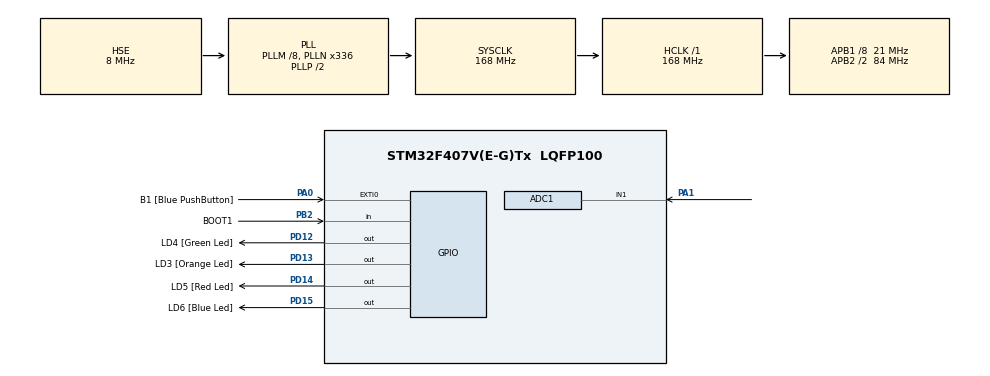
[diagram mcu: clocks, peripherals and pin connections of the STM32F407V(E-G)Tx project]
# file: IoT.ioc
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ADC1.Channel-0\#ChannelRegularConversion=ADC_CHANNEL_1
ADC1.ClockPrescaler=ADC_CLOCK_SYNC_PCLK_DIV4
ADC1.ContinuousConvMode=ENABLE
ADC1.DMAContinuousRequests=DISABLE
ADC1.DataAlign=ADC_DATAALIGN_RIGHT
ADC1.DiscontinuousConvMode=DISABLE
ADC1.EOCSelection=ADC_EOC_SINGLE_CONV
ADC1.EnableAnalogWatchDog=false
ADC1.ExternalTrigConv=ADC_SOFTWARE_START
ADC1.ExternalTrigConvEdge=ADC_EXTERNALTRIGCONVEDGE_NONE
ADC1.InjNumberOfConversion=0
ADC1.NbrOfConversion=1
ADC1.NbrOfConversionFlag=1
ADC1.Rank-0\#ChannelRegularConversion=1
ADC1.Resolution=ADC_RESOLUTION_12B
ADC1.SamplingTime-0\#ChannelRegularConversion=ADC_SAMPLETIME_3CYCLES
ADC1.ScanConvMode=ENABLE
ADC1.master=1
Dma.ADC1.0.Direction=DMA_PERIPH_TO_MEMORY
Dma.ADC1.0.FIFOMode=DMA_FIFOMODE_DISABLE
Dma.ADC1.0.Instance=DMA2_Stream0
Dma.ADC1.0.MemDataAlignment=DMA_MDATAALIGN_WORD
Dma.ADC1.0.MemInc=DMA_MINC_ENABLE
Dma.ADC1.0.Mode=DMA_CIRCULAR
Dma.ADC1.0.PeriphDataAlignment=DMA_PDATAALIGN_WORD
Dma.ADC1.0.PeriphInc=DMA_PINC_DISABLE
Dma.ADC1.0.Priority=DMA_PRIORITY_LOW
Dma.Request0=ADC1
FREERTOS.Tasks01=defaultTask,0,128,StartDefaultTask,Default,NULL
Mcu.Family=STM32F4
Mcu.Name=STM32F407V(E-G)Tx
Mcu.Package=LQFP100
NVIC.ADC_IRQn=true\:5\:0\:false\:false\:true\:true\:true
NVIC.DMA2_Stream0_IRQn=true\:5\:0\:false\:false\:true\:true\:false
NVIC.PriorityGroup=NVIC_PRIORITYGROUP_4
NVIC.TIM1_UP_TIM10_IRQn=true\:0\:0\:false\:false\:true\:false\:false
NVIC.TIM6_DAC_IRQn=true\:5\:0\:false\:false\:true\:true\:true
NVIC.TimeBase=TIM1_UP_TIM10_IRQn
NVIC.TimeBaseIP=TIM1
PA0-WKUP.GPIO_Label=B1 [Blue PushButton]
PA0-WKUP.GPIO_ModeDefaultEXTI=GPIO_MODE_EVT_RISING
PA0-WKUP.GPIO_PuPd=GPIO_NOPULL
PA0-WKUP.Signal=GPXTI0
PA1.Signal=ADCx_IN1
PB2.GPIO_Label=BOOT1
PB2.GPIO_Mode=GPIO_MODE_INPUT
PB2.GPIO_PuPd=GPIO_NOPULL
PB2.Signal=GPIO_Input
PB3.GPIO_Label=SWO
PB3.Signal=SYS_JTDO-SWO
PC14-OSC32_IN.GPIO_Label=PC14-OSC32_IN
PC14-OSC32_IN.Mode=LSE-External-Oscillator
PC14-OSC32_IN.Signal=RCC_OSC32_IN
PC15-OSC32_OUT.GPIO_Label=PC15-OSC32_OUT
PC15-OSC32_OUT.Mode=LSE-External-Oscillator
PC15-OSC32_OUT.Signal=RCC_OSC32_OUT
PC7.GPIO_Label=I2S3_MCK [CS43L22_MCLK]
PC7.GPIO_Mode=GPIO_MODE_AF_PP
PC7.GPIO_PuPd=GPIO_NOPULL
PC7.GPIO_Speed=GPIO_SPEED_FREQ_LOW
PC7.Signal=I2S3_MCK
PD12.GPIO_Label=LD4 [Green Led]
PD12.GPIO_PuPd=GPIO_PULLDOWN
PD12.GPIO_Speed=GPIO_SPEED_FREQ_LOW
PD12.Signal=GPIO_Output
PD13.GPIO_Label=LD3 [Orange Led]
PD13.GPIO_PuPd=GPIO_PULLDOWN
PD13.GPIO_Speed=GPIO_SPEED_FREQ_LOW
PD13.Signal=GPIO_Output
PD14.GPIO_Label=LD5 [Red Led]
PD14.GPIO_PuPd=GPIO_PULLDOWN
PD14.GPIO_Speed=GPIO_SPEED_FREQ_LOW
PD14.Signal=GPIO_Output
PD15.GPIO_Label=LD6 [Blue Led]
PD15.GPIO_PuPd=GPIO_PULLDOWN
PD15.GPIO_Speed=GPIO_SPEED_FREQ_LOW
PD15.Signal=GPIO_Output
PH0-OSC_IN.GPIO_Label=PH0-OSC_IN
PH0-OSC_IN.Mode=HSE-External-Oscillator
PH0-OSC_IN.Signal=RCC_OSC_IN
PH1-OSC_OUT.GPIO_Label=PH1-OSC_OUT
PH1-OSC_OUT.Mode=HSE-External-Oscillator
PH1-OSC_OUT.Signal=RCC_OSC_OUT
ProjectManager.HeapSize=0x200
ProjectManager.StackSize=0x400
ProjectManager.TargetToolchain=MDK-ARM V5
RCC.48MHZClocksFreq_Value=48000000
RCC.AHBFreq_Value=168000000
RCC.APB1CLKDivider=RCC_HCLK_DIV8
RCC.APB1Freq_Value=21000000
RCC.APB1TimFreq_Value=42000000
RCC.APB2CLKDivider=RCC_HCLK_DIV2
RCC.APB2Freq_Value=84000000
RCC.APB2TimFreq_Value=168000000
RCC.CortexFreq_Value=168000000
RCC.HCLKFreq_Value=168000000
RCC.HSE_VALUE=8000000
RCC.HSI_VALUE=16000000
RCC.PLLM=8
RCC.PLLN=336
RCC.PLLQ=7
RCC.PLLSourceVirtual=RCC_PLLSOURCE_HSE
RCC.SYSCLKFreq_VALUE=168000000
RCC.SYSCLKSource=RCC_SYSCLKSOURCE_PLLCLK
RCC.VCOOutputFreq_Value=336000000
SH.ADCx_IN1.0=ADC1_IN1,IN1
TIM6.Period=1000
TIM6.Prescaler=42000
TIM6.TIM_MasterOutputTrigger=TIM_TRGO_UPDATE
VP_FREERTOS_VS_ENABLE.Mode=Enabled
VP_SYS_VS_tim1.Mode=TIM1
VP_TIM6_VS_ClockSourceINT.Mode=Enable_Timer
board=STM32F4DISCOVERY

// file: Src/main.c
/**
  ******************************************************************************
  * @file           : main.c
  * @brief          : Main program body
  ******************************************************************************
  * This notice applies to any and all portions of this file
  * that are not between comment pairs USER CODE BEGIN and
  * USER CODE END. Other portions of this file, whether
  * inserted by the user or by software development tools
  * are owned by their respective copyright owners.
  *
  * Copyright (c) 2018 STMicroelectronics International N.V.
  * All rights reserved.
  *
  * Redistribution and use in source and binary forms, with or without
  * modification, are permitted, provided that the following conditions are met:
  *
  * 1. Redistribution of source code must retain the above copyright notice,
  *    this list of conditions and the following disclaimer.
  * 2. Redistributions in binary form must reproduce the above copyright notice,
  *    this list of conditions and the following disclaimer in the documentation
  *    and/or other materials provided with the distribution.
  * 3. Neither the name of STMicroelectronics nor the names of other
  *    contributors to this software may be used to endorse or promote products
  *    derived from this software without specific written permission.
  * 4. This software, including modifications and/or derivative works of this
  *    software, must execute solely and exclusively on microcontroller or
  *    microprocessor devices manufactured by or for STMicroelectronics.
  * 5. Redistribution and use of this software other than as permitted under
  *    this license is void and will automatically terminate your rights under
  *    this license.
  *
  * THIS SOFTWARE IS PROVIDED BY STMICROELECTRONICS AND CONTRIBUTORS "AS IS"
  * AND ANY EXPRESS, IMPLIED OR STATUTORY WARRANTIES, INCLUDING, BUT NOT
  * LIMITED TO, THE IMPLIED WARRANTIES OF MERCHANTABILITY, FITNESS FOR A
  * PARTICULAR PURPOSE AND NON-INFRINGEMENT OF THIRD PARTY INTELLECTUAL PROPERTY
  * RIGHTS ARE DISCLAIMED TO THE FULLEST EXTENT PERMITTED BY LAW. IN NO EVENT
  * SHALL STMICROELECTRONICS OR CONTRIBUTORS BE LIABLE FOR ANY DIRECT, INDIRECT,
  * INCIDENTAL, SPECIAL, EXEMPLARY, OR CONSEQUENTIAL DAMAGES (INCLUDING, BUT NOT
  * LIMITED TO, PROCUREMENT OF SUBSTITUTE GOODS OR SERVICES; LOSS OF USE, DATA,
  * OR PROFITS; OR BUSINESS INTERRUPTION) HOWEVER CAUSED AND ON ANY THEORY OF
  * LIABILITY, WHETHER IN CONTRACT, STRICT LIABILITY, OR TORT (INCLUDING
  * NEGLIGENCE OR OTHERWISE) ARISING IN ANY WAY OUT OF THE USE OF THIS SOFTWARE,
  * EVEN IF ADVISED OF THE POSSIBILITY OF SUCH DAMAGE.
  *
  ******************************************************************************
  */
#include "main.h"
#include "stm32f4xx_hal.h"
#include "cmsis_os.h"

ADC_HandleTypeDef hadc1;
DMA_HandleTypeDef hdma_adc1;

TIM_HandleTypeDef htim6;

osThreadId defaultTaskHandle;

/* USER CODE BEGIN PV */
/* Private variables ---------------------------------------------------------*/

/* USER CODE END PV */

void SystemClock_Config(void);
static void MX_GPIO_Init(void);
static void MX_DMA_Init(void);
static void MX_ADC1_Init(void);
static void MX_TIM6_Init(void);
void StartDefaultTask(void const * argument);

/* USER CODE BEGIN PFP */
/* Private function prototypes -----------------------------------------------*/
void convertInTemp (void *argument);
/* USER CODE END PFP */

/* USER CODE BEGIN 0 */
uint32_t adc_buf;
int temp;
int flag;
double temperature;
/* USER CODE END 0 */

int main(void)
{

  /* MCU Configuration----------------------------------------------------------*/

  /* Reset of all peripherals, Initializes the Flash interface and the Systick. */
  HAL_Init();

  /* Configure the system clock */
  SystemClock_Config();

  /* Initialize all configured peripherals */
  MX_GPIO_Init();
  MX_DMA_Init();
  MX_ADC1_Init();
  MX_TIM6_Init();
  /* USER CODE BEGIN 2 */
	HAL_TIM_Base_Start(&htim6);
	HAL_TIM_Base_Start_IT(&htim6);
	HAL_ADC_Start_IT(&hadc1);
	flag=0;
	temperature=0xFFFF;
  /* USER CODE END 2 */

  /* Create the thread(s) */
  /* definition and creation of defaultTask */
  osThreadDef(defaultTask, StartDefaultTask, osPriorityNormal, 0, 128);
  defaultTaskHandle = osThreadCreate(osThread(defaultTask), NULL);
	xTaskCreate(convertInTemp,"Convert",configMINIMAL_STACK_SIZE,NULL,1,NULL);

  /* USER CODE BEGIN RTOS_THREADS */
  /* add threads, ... */
//	xTaskCreate(StartDefaultTask,"default",configMINIMAL_STACK_SIZE,NULL,1,NULL);
  /* USER CODE END RTOS_THREADS */

  /* Start scheduler */
  osKernelStart();

  /* We should never get here as control is now taken by the scheduler */

  /* Infinite loop */
  while (1)
  {

  }

}

void SystemClock_Config(void)
{

  RCC_OscInitTypeDef RCC_OscInitStruct;
  RCC_ClkInitTypeDef RCC_ClkInitStruct;

    /**Configure the main internal regulator output voltage
    */
  __HAL_RCC_PWR_CLK_ENABLE();

  __HAL_PWR_VOLTAGESCALING_CONFIG(PWR_REGULATOR_VOLTAGE_SCALE1);

    /**Initializes the CPU, AHB and APB busses clocks
    */
  RCC_OscInitStruct.OscillatorType = RCC_OSCILLATORTYPE_HSE;
  RCC_OscInitStruct.HSEState = RCC_HSE_ON;
  RCC_OscInitStruct.PLL.PLLState = RCC_PLL_ON;
  RCC_OscInitStruct.PLL.PLLSource = RCC_PLLSOURCE_HSE;
  RCC_OscInitStruct.PLL.PLLM = 8;
  RCC_OscInitStruct.PLL.PLLN = 336;
  RCC_OscInitStruct.PLL.PLLP = RCC_PLLP_DIV2;
  RCC_OscInitStruct.PLL.PLLQ = 7;
  if (HAL_RCC_OscConfig(&RCC_OscInitStruct) != HAL_OK)
  {
    _Error_Handler(__FILE__, __LINE__);
  }

    /**Initializes the CPU, AHB and APB busses clocks
    */
  RCC_ClkInitStruct.ClockType = RCC_CLOCKTYPE_HCLK|RCC_CLOCKTYPE_SYSCLK
                              |RCC_CLOCKTYPE_PCLK1|RCC_CLOCKTYPE_PCLK2;
  RCC_ClkInitStruct.SYSCLKSource = RCC_SYSCLKSOURCE_PLLCLK;
  RCC_ClkInitStruct.AHBCLKDivider = RCC_SYSCLK_DIV1;
  RCC_ClkInitStruct.APB1CLKDivider = RCC_HCLK_DIV8;
  RCC_ClkInitStruct.APB2CLKDivider = RCC_HCLK_DIV2;

  if (HAL_RCC_ClockConfig(&RCC_ClkInitStruct, FLASH_LATENCY_5) != HAL_OK)
  {
    _Error_Handler(__FILE__, __LINE__);
  }

    /**Configure the Systick interrupt time
    */
  HAL_SYSTICK_Config(HAL_RCC_GetHCLKFreq()/1000);

    /**Configure the Systick
    */
  HAL_SYSTICK_CLKSourceConfig(SYSTICK_CLKSOURCE_HCLK);

  /* SysTick_IRQn interrupt configuration */
  HAL_NVIC_SetPriority(SysTick_IRQn, 15, 0);
}

/* ADC1 init function */
static void MX_ADC1_Init(void)
{

  ADC_ChannelConfTypeDef sConfig;

    /**Configure the global features of the ADC (Clock, Resolution, Data Alignment and number of conversion)
    */
  hadc1.Instance = ADC1;
  hadc1.Init.ClockPrescaler = ADC_CLOCK_SYNC_PCLK_DIV4;
  hadc1.Init.Resolution = ADC_RESOLUTION_12B;
  hadc1.Init.ScanConvMode = ENABLE;
  hadc1.Init.ContinuousConvMode = ENABLE;
  hadc1.Init.DiscontinuousConvMode = DISABLE;
  hadc1.Init.ExternalTrigConvEdge = ADC_EXTERNALTRIGCONVEDGE_NONE;
  hadc1.Init.ExternalTrigConv = ADC_SOFTWARE_START;
  hadc1.Init.DataAlign = ADC_DATAALIGN_RIGHT;
  hadc1.Init.NbrOfConversion = 1;
  hadc1.Init.DMAContinuousRequests = DISABLE;
  hadc1.Init.EOCSelection = ADC_EOC_SINGLE_CONV;
  if (HAL_ADC_Init(&hadc1) != HAL_OK)
  {
    _Error_Handler(__FILE__, __LINE__);
  }

    /**Configure for the selected ADC regular channel its corresponding rank in the sequencer and its sample time.
    */
  sConfig.Channel = ADC_CHANNEL_1;
  sConfig.Rank = 1;
  sConfig.SamplingTime = ADC_SAMPLETIME_3CYCLES;
  if (HAL_ADC_ConfigChannel(&hadc1, &sConfig) != HAL_OK)
  {
    _Error_Handler(__FILE__, __LINE__);
  }

}

/* TIM6 init function */
static void MX_TIM6_Init(void)
{

  TIM_MasterConfigTypeDef sMasterConfig;

  htim6.Instance = TIM6;
  htim6.Init.Prescaler = 42000;
  htim6.Init.CounterMode = TIM_COUNTERMODE_UP;
  htim6.Init.Period = 1000;
  if (HAL_TIM_Base_Init(&htim6) != HAL_OK)
  {
    _Error_Handler(__FILE__, __LINE__);
  }

  sMasterConfig.MasterOutputTrigger = TIM_TRGO_UPDATE;
  sMasterConfig.MasterSlaveMode = TIM_MASTERSLAVEMODE_DISABLE;
  if (HAL_TIMEx_MasterConfigSynchronization(&htim6, &sMasterConfig) != HAL_OK)
  {
    _Error_Handler(__FILE__, __LINE__);
  }

}

static void MX_DMA_Init(void)
{
  /* DMA controller clock enable */
  __HAL_RCC_DMA2_CLK_ENABLE();

  /* DMA interrupt init */
  /* DMA2_Stream0_IRQn interrupt configuration */
  HAL_NVIC_SetPriority(DMA2_Stream0_IRQn, 5, 0);
  HAL_NVIC_EnableIRQ(DMA2_Stream0_IRQn);

}

/** Configure pins as
        * Analog
        * Input
        * Output
        * EVENT_OUT
        * EXTI
     PC7   ------> I2S3_MCK
*/
static void MX_GPIO_Init(void)
{

  GPIO_InitTypeDef GPIO_InitStruct;

  /* GPIO Ports Clock Enable */
  __HAL_RCC_GPIOC_CLK_ENABLE();
  __HAL_RCC_GPIOH_CLK_ENABLE();
  __HAL_RCC_GPIOA_CLK_ENABLE();
  __HAL_RCC_GPIOB_CLK_ENABLE();
  __HAL_RCC_GPIOD_CLK_ENABLE();

  /*Configure GPIO pin Output Level */
  HAL_GPIO_WritePin(GPIOD, LD4_Pin|LD3_Pin|LD5_Pin|LD6_Pin, GPIO_PIN_RESET);

  /*Configure GPIO pin : B1_Pin */
  GPIO_InitStruct.Pin = B1_Pin;
  GPIO_InitStruct.Mode = GPIO_MODE_EVT_RISING;
  GPIO_InitStruct.Pull = GPIO_NOPULL;
  HAL_GPIO_Init(B1_GPIO_Port, &GPIO_InitStruct);

  /*Configure GPIO pin : BOOT1_Pin */
  GPIO_InitStruct.Pin = BOOT1_Pin;
  GPIO_InitStruct.Mode = GPIO_MODE_INPUT;
  GPIO_InitStruct.Pull = GPIO_NOPULL;
  HAL_GPIO_Init(BOOT1_GPIO_Port, &GPIO_InitStruct);

  /*Configure GPIO pins : LD4_Pin LD3_Pin LD5_Pin LD6_Pin */
  GPIO_InitStruct.Pin = LD4_Pin|LD3_Pin|LD5_Pin|LD6_Pin;
  GPIO_InitStruct.Mode = GPIO_MODE_OUTPUT_PP;
  GPIO_InitStruct.Pull = GPIO_PULLDOWN;
  GPIO_InitStruct.Speed = GPIO_SPEED_FREQ_LOW;
  HAL_GPIO_Init(GPIOD, &GPIO_InitStruct);

  /*Configure GPIO pin : I2S3_MCK_Pin */
  GPIO_InitStruct.Pin = I2S3_MCK_Pin;
  GPIO_InitStruct.Mode = GPIO_MODE_AF_PP;
  GPIO_InitStruct.Pull = GPIO_NOPULL;
  GPIO_InitStruct.Speed = GPIO_SPEED_FREQ_LOW;
  GPIO_InitStruct.Alternate = GPIO_AF6_SPI3;
  HAL_GPIO_Init(I2S3_MCK_GPIO_Port, &GPIO_InitStruct);

}

/* USER CODE BEGIN 4 */

void HAL_ADC_ConvCpltCallback(ADC_HandleTypeDef* hadc)
{
//	temp = adc_buf*.322;   // convert value from adc buffer to temperature in Centigrade
	temp=HAL_ADC_GetValue(hadc);
	flag=1;
}

void convertInTemp (void *argument)
{
	while(1)
	{
		if (flag!=0)
		{
			temperature=temp*5/20.48;
			flag=0;
		}
		else osDelay(1);
	}
}
/* USER CODE END 4 */

/* StartDefaultTask function */
void StartDefaultTask(void const * argument)
{

  /* USER CODE BEGIN 5 */
  /* Infinite loop */
  for(;;)
  {
		HAL_GPIO_WritePin(GPIOD,LD4_Pin,GPIO_PIN_SET);
    osDelay(200);
		HAL_GPIO_WritePin(GPIOD,LD4_Pin,GPIO_PIN_RESET);
		osDelay(200);
  }
  /* USER CODE END 5 */
}

void HAL_TIM_PeriodElapsedCallback(TIM_HandleTypeDef *htim)
{
  if (htim->Instance == TIM1) {
    HAL_IncTick();
  }
}

void _Error_Handler(char *file, int line)
{
  while(1)
  {
  }
}

/************************ (C) COPYRIGHT STMicroelectronics *****END OF FILE****/
